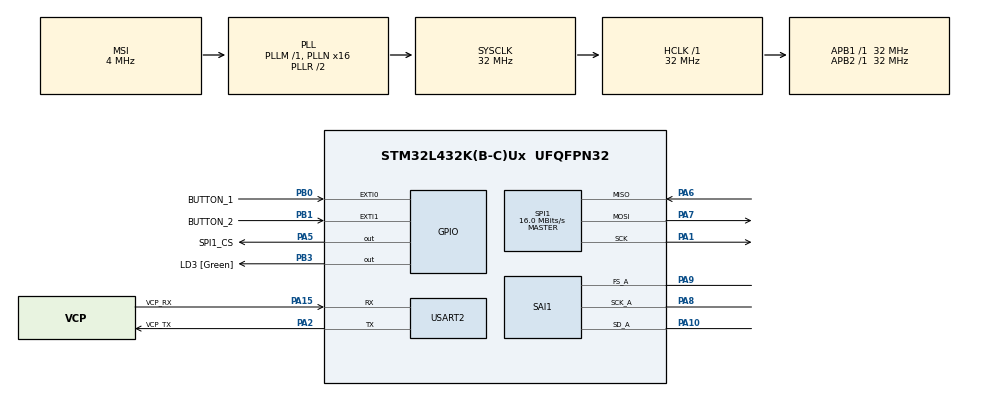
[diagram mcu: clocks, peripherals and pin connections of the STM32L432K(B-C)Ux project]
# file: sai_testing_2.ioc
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Dma.Request0=SAI1_A
Dma.SAI1_A.0.Direction=DMA_MEMORY_TO_PERIPH
Dma.SAI1_A.0.Instance=DMA2_Channel1
Dma.SAI1_A.0.MemDataAlignment=DMA_MDATAALIGN_HALFWORD
Dma.SAI1_A.0.MemInc=DMA_MINC_ENABLE
Dma.SAI1_A.0.Mode=DMA_CIRCULAR
Dma.SAI1_A.0.PeriphDataAlignment=DMA_PDATAALIGN_HALFWORD
Dma.SAI1_A.0.PeriphInc=DMA_PINC_DISABLE
Dma.SAI1_A.0.Priority=DMA_PRIORITY_HIGH
Mcu.Family=STM32L4
Mcu.Name=STM32L432K(B-C)Ux
Mcu.Package=UFQFPN32
NVIC.DMA2_Channel1_IRQn=true\:0\:0\:false\:false\:true\:false\:true\:true
NVIC.EXTI0_IRQn=true\:0\:0\:false\:false\:true\:true\:true\:true
NVIC.EXTI1_IRQn=true\:0\:0\:false\:false\:true\:true\:true\:true
NVIC.PriorityGroup=NVIC_PRIORITYGROUP_4
PA0.GPIO_Label=MCO [High speed clock in]
PA0.Mode=HSE-External-Clock-Source-for-LittleOrca
PA0.Signal=RCC_CK_IN
PA1.Mode=Full_Duplex_Master
PA1.Signal=SPI1_SCK
PA10.Mode=SAI_A_Master
PA10.Signal=SAI1_SD_A
PA13\ (JTMS-SWDIO).GPIO_Label=SWDIO
PA13\ (JTMS-SWDIO).Mode=Serial_Wire
PA13\ (JTMS-SWDIO).Signal=SYS_JTMS-SWDIO
PA14\ (JTCK-SWCLK).GPIO_Label=SWCLK
PA14\ (JTCK-SWCLK).Mode=Serial_Wire
PA14\ (JTCK-SWCLK).Signal=SYS_JTCK-SWCLK
PA15\ (JTDI).GPIO_Label=VCP_RX
PA15\ (JTDI).Mode=Asynchronous
PA15\ (JTDI).Signal=USART2_RX
PA2.GPIO_Label=VCP_TX
PA2.Mode=Asynchronous
PA2.Signal=USART2_TX
PA5.GPIO_Label=SPI1_CS
PA5.PinState=GPIO_PIN_SET
PA5.Signal=GPIO_Output
PA6.Mode=Full_Duplex_Master
PA6.Signal=SPI1_MISO
PA7.Mode=Full_Duplex_Master
PA7.Signal=SPI1_MOSI
PA8.Mode=SAI_A_Master
PA8.Signal=SAI1_SCK_A
PA9.Mode=SAI_A_Master
PA9.Signal=SAI1_FS_A
PB0.GPIO_Label=BUTTON_1
PB0.GPIO_ModeDefaultEXTI=GPIO_MODE_IT_RISING
PB0.GPIO_PuPd=GPIO_PULLDOWN
PB0.Signal=GPXTI0
PB1.GPIO_Label=BUTTON_2
PB1.GPIO_ModeDefaultEXTI=GPIO_MODE_IT_RISING
PB1.GPIO_PuPd=GPIO_PULLDOWN
PB1.Signal=GPXTI1
PB3\ (JTDO-TRACESWO).GPIO_Label=LD3 [Green]
PB3\ (JTDO-TRACESWO).Signal=GPIO_Output
PC14-OSC32_IN\ (PC14).Mode=LSE-External-Oscillator
PC14-OSC32_IN\ (PC14).Signal=RCC_OSC32_IN
PC15-OSC32_OUT\ (PC15).Mode=LSE-External-Oscillator
PC15-OSC32_OUT\ (PC15).Signal=RCC_OSC32_OUT
ProjectManager.HeapSize=0x200
ProjectManager.StackSize=0x400
ProjectManager.TargetToolchain=STM32CubeIDE
RCC.ADCFreq_Value=32000000
RCC.AHBFreq_Value=32000000
RCC.APB1Freq_Value=32000000
RCC.APB1TimFreq_Value=32000000
RCC.APB2Freq_Value=32000000
RCC.APB2TimFreq_Value=32000000
RCC.CortexFreq_Value=32000000
RCC.HCLKFreq_Value=32000000
RCC.HSE_VALUE=8000000
RCC.HSI16_VALUE=16000000
RCC.HSI48_VALUE=48000000
RCC.HSI_VALUE=16000000
RCC.MSI_VALUE=4000000
RCC.PLLMUL=RCC_PLLMUL_4
RCC.PLLN=16
RCC.PLLSAI1N=16
RCC.PLLSAI1P=RCC_PLLP_DIV4
RCC.SYSCLKFreq_VALUE=32000000
RCC.SYSCLKSource=RCC_SYSCLKSOURCE_PLLCLK
RCC.USBFreq_Value=32000000
RCC.VCOOutputFreq_Value=64000000
SAI1.AudioFrequency-SAI_A_Master=SAI_AUDIO_FREQUENCY_16K
SAI1.ErrorAudioFreq-SAI_A_Master=-2.34 %
SAI1.InitProtocol-SAI_A_Master=Enable
SAI1.Instance-SAI_A_Master=SAI$Index_Block_A
SAI1.MClockEnable-SAI_A_Master=SAI_MASTERCLOCK_DISABLE
SAI1.RealAudioFreq-SAI_A_Master=15.625 KHz
SAI1.VirtualMode-SAI_A_Master=VM_MASTER
SAI1.VirtualProtocol-SAI_A_BASIC=VM_BASIC_PROTOCOL
SPI1.BaudRatePrescaler=SPI_BAUDRATEPRESCALER_2
SPI1.CalculateBaudRate=16.0 MBits/s
SPI1.DataSize=SPI_DATASIZE_8BIT
SPI1.Direction=SPI_DIRECTION_2LINES
SPI1.Mode=SPI_MODE_MASTER
SPI1.VirtualType=VM_MASTER
USART2.VirtualMode-Asynchronous=VM_ASYNC
VP_SAI1_VP_$IpInstance_SAIA_SAI_BASIC.Mode=SAI_A_BASIC
board=NUCLEO-L432KC

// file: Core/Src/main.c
/* USER CODE BEGIN Header */
/**
  ******************************************************************************
  * @file           : main.c
  * @brief          : Main program body
  ******************************************************************************
  * @attention
  *
  * Copyright (c) 2025 STMicroelectronics.
  * All rights reserved.
  *
  * This software is licensed under terms that can be found in the LICENSE file
  * in the root directory of this software component.
  * If no LICENSE file comes with this software, it is provided AS-IS.
  *
  ******************************************************************************
  */
/* USER CODE END Header */
#include "main.h"

/* USER CODE BEGIN Includes */
#include "audio_clip.h"
#include <stdbool.h>
#include <stdlib.h>
#include "w25qxx.h"

/* USER CODE END Includes */

/* USER CODE BEGIN PD */
#define BUFFER_SIZE 512  // must be even and divisible by 4 (2 channels x 16-bit)
#define VOLUME_MULT 0.75f
#define COFFEE_HOLE_FRACTION 10 // 10% of the time, play the coffee hole clip
/* USER CODE END PD */

SAI_HandleTypeDef hsai_BlockA1;
DMA_HandleTypeDef hdma_sai1_a;

SPI_HandleTypeDef hspi1;

UART_HandleTypeDef huart2;

/* USER CODE BEGIN PV */
uint16_t dma_buffer[BUFFER_SIZE];  // 16-bit stereo interleaved
uint8_t raw_buffer[BUFFER_SIZE * 2];  // twice as big because its data type is half dma_buffer's

volatile uint32_t audio_offset = 0;
uint32_t audio_end = 0;  //

volatile int8_t pending_track = -1;
int8_t last_track = -1;
volatile bool audio_playing = false;

W25QXX_HandleTypeDef w25qxx;
//uint8_t buf[256] = {0}; // Buffer for playing with w25qxx
/* USER CODE END PV */

void SystemClock_Config(void);
static void MX_GPIO_Init(void);
static void MX_DMA_Init(void);
static void MX_USART2_UART_Init(void);
static void MX_SAI1_Init(void);
static void MX_SPI1_Init(void);

/* USER CODE BEGIN 0 */
/*
 * Given a start and end position in the DMA buffer, fill it with data from the audio clip array.
 * Probably would be either first half, second half, or full refill.
 *
 * Each stereo 32-bit frame is 4 bytes long (2 bytes for left slot, 2 bytes for right slot)
 * if 16-bit audio data is store as bytes: 0x00 0x01 0x02 0x03
 * each (little-endian order, hence 00 01 => 0100) frame is: [left slot 16-bits: 0x0100, right slot 16-bits: 0x0302]
 */
void fill_buffer(uint32_t start, uint32_t end) {
//    audioFlashReadPtr = audio_clips[track_num].start;
//    audioPlaybackFinished = false;
//    audio_playing = true;
    // Pre-fill both halves
    uint32_t byte_len = (end - start) * 2;  // 2 bytes per sample
    w25qxx_read(&w25qxx, audio_offset, raw_buffer, byte_len);

    // going through the audio data, 2 bytes as a time (therefore 1 slot at a time, so left, then right)
    for (int i = start; i < end; ++i) {
        if (audio_offset + 1 < audio_end) {
            uint16_t sample = (raw_buffer[2*(i - start)+1] << 8 | raw_buffer[2*(i - start)]);
            dma_buffer[i] = (int16_t)sample*VOLUME_MULT; // do the multiplication as a signed int (cause that's what the data is)
            audio_offset += 2;
        } else {
            dma_buffer[i] = 0;  // silence
        }
    }
}

void HAL_SAI_TxHalfCpltCallback(SAI_HandleTypeDef *hsai) {
    if (audio_offset >= audio_end) { // Done playing.
        HAL_SAI_DMAStop(hsai);
        HAL_GPIO_WritePin(LD3_GPIO_Port, LD3_Pin, GPIO_PIN_RESET);
        audio_playing = false;
        return;
    }
    fill_buffer(0, BUFFER_SIZE/2); // Fill first half of the buffer
}

void HAL_SAI_TxCpltCallback(SAI_HandleTypeDef *hsai) {
    if (audio_offset >= audio_end) { // Done playing.
        HAL_SAI_DMAStop(hsai);
        HAL_GPIO_WritePin(LD3_GPIO_Port, LD3_Pin, GPIO_PIN_RESET);
        audio_playing = false;
        return;
    }
    fill_buffer(BUFFER_SIZE/2, BUFFER_SIZE); // Fill second half of the buffer
}

void play_track(uint8_t track_num) {
    if (audio_playing) return;
    audio_playing = true;

    audio_offset = audio_clips[track_num].start;
    audio_end = audio_offset + audio_clips[track_num].length;

    fill_buffer(0, BUFFER_SIZE); // Fill the whole buffer
    HAL_Delay(10);
    HAL_GPIO_WritePin(LD3_GPIO_Port, LD3_Pin, GPIO_PIN_SET);
    HAL_SAI_Transmit_DMA(&hsai_BlockA1, (uint8_t*)dma_buffer, BUFFER_SIZE);
}

/* USER CODE END 0 */

int main(void)
{

  /* MCU Configuration--------------------------------------------------------*/

  /* Reset of all peripherals, Initializes the Flash interface and the Systick. */
  HAL_Init();

  /* Configure the system clock */
  SystemClock_Config();

  /* Initialize all configured peripherals */
  MX_GPIO_Init();
  MX_DMA_Init();
  MX_USART2_UART_Init();
  MX_SAI1_Init();
  MX_SPI1_Init();
  /* USER CODE BEGIN 2 */

  if (w25qxx_init(&w25qxx, &hspi1, SPI1_CS_GPIO_Port, SPI1_CS_Pin) == W25QXX_Ok)
  {
  }

  play_track(16);
  /* USER CODE END 2 */

  /* Infinite loop */
  while (1)
  {

    /* USER CODE BEGIN 3 */
    if (pending_track >= 0 && !audio_playing) {
      uint8_t t = pending_track;
      pending_track = -1;
      play_track(t);                // start outside ISR
    }
    __WFI();                          // sleep until next event
  }
  /* USER CODE END 3 */
}

void SystemClock_Config(void)
{
  RCC_OscInitTypeDef RCC_OscInitStruct = {0};
  RCC_ClkInitTypeDef RCC_ClkInitStruct = {0};

  /** Configure the main internal regulator output voltage
  */
  if (HAL_PWREx_ControlVoltageScaling(PWR_REGULATOR_VOLTAGE_SCALE1) != HAL_OK)
  {
    Error_Handler();
  }

  /** Configure LSE Drive Capability
  */
  HAL_PWR_EnableBkUpAccess();
  __HAL_RCC_LSEDRIVE_CONFIG(RCC_LSEDRIVE_LOW);

  /** Initializes the RCC Oscillators according to the specified parameters
  * in the RCC_OscInitTypeDef structure.
  */
  RCC_OscInitStruct.OscillatorType = RCC_OSCILLATORTYPE_LSE|RCC_OSCILLATORTYPE_MSI;
  RCC_OscInitStruct.LSEState = RCC_LSE_ON;
  RCC_OscInitStruct.MSIState = RCC_MSI_ON;
  RCC_OscInitStruct.MSICalibrationValue = 0;
  RCC_OscInitStruct.MSIClockRange = RCC_MSIRANGE_6;
  RCC_OscInitStruct.PLL.PLLState = RCC_PLL_ON;
  RCC_OscInitStruct.PLL.PLLSource = RCC_PLLSOURCE_MSI;
  RCC_OscInitStruct.PLL.PLLM = 1;
  RCC_OscInitStruct.PLL.PLLN = 16;
  RCC_OscInitStruct.PLL.PLLP = RCC_PLLP_DIV7;
  RCC_OscInitStruct.PLL.PLLQ = RCC_PLLQ_DIV2;
  RCC_OscInitStruct.PLL.PLLR = RCC_PLLR_DIV2;
  if (HAL_RCC_OscConfig(&RCC_OscInitStruct) != HAL_OK)
  {
    Error_Handler();
  }

  /** Initializes the CPU, AHB and APB buses clocks
  */
  RCC_ClkInitStruct.ClockType = RCC_CLOCKTYPE_HCLK|RCC_CLOCKTYPE_SYSCLK
                              |RCC_CLOCKTYPE_PCLK1|RCC_CLOCKTYPE_PCLK2;
  RCC_ClkInitStruct.SYSCLKSource = RCC_SYSCLKSOURCE_PLLCLK;
  RCC_ClkInitStruct.AHBCLKDivider = RCC_SYSCLK_DIV1;
  RCC_ClkInitStruct.APB1CLKDivider = RCC_HCLK_DIV1;
  RCC_ClkInitStruct.APB2CLKDivider = RCC_HCLK_DIV1;

  if (HAL_RCC_ClockConfig(&RCC_ClkInitStruct, FLASH_LATENCY_1) != HAL_OK)
  {
    Error_Handler();
  }

  /** Enable MSI Auto calibration
  */
  HAL_RCCEx_EnableMSIPLLMode();
}

static void MX_SAI1_Init(void)
{

  hsai_BlockA1.Instance = SAI1_Block_A;
  hsai_BlockA1.Init.AudioMode = SAI_MODEMASTER_TX;
  hsai_BlockA1.Init.Synchro = SAI_ASYNCHRONOUS;
  hsai_BlockA1.Init.OutputDrive = SAI_OUTPUTDRIVE_DISABLE;
  hsai_BlockA1.Init.NoDivider = SAI_MASTERDIVIDER_ENABLE;
  hsai_BlockA1.Init.FIFOThreshold = SAI_FIFOTHRESHOLD_EMPTY;
  hsai_BlockA1.Init.AudioFrequency = SAI_AUDIO_FREQUENCY_16K;
  hsai_BlockA1.Init.SynchroExt = SAI_SYNCEXT_DISABLE;
  hsai_BlockA1.Init.MonoStereoMode = SAI_STEREOMODE;
  hsai_BlockA1.Init.CompandingMode = SAI_NOCOMPANDING;
  hsai_BlockA1.Init.TriState = SAI_OUTPUT_NOTRELEASED;
  if (HAL_SAI_InitProtocol(&hsai_BlockA1, SAI_I2S_STANDARD, SAI_PROTOCOL_DATASIZE_16BIT, 2) != HAL_OK)
  {
    Error_Handler();
  }

}

static void MX_SPI1_Init(void)
{

  /* SPI1 parameter configuration*/
  hspi1.Instance = SPI1;
  hspi1.Init.Mode = SPI_MODE_MASTER;
  hspi1.Init.Direction = SPI_DIRECTION_2LINES;
  hspi1.Init.DataSize = SPI_DATASIZE_8BIT;
  hspi1.Init.CLKPolarity = SPI_POLARITY_LOW;
  hspi1.Init.CLKPhase = SPI_PHASE_1EDGE;
  hspi1.Init.NSS = SPI_NSS_SOFT;
  hspi1.Init.BaudRatePrescaler = SPI_BAUDRATEPRESCALER_2;
  hspi1.Init.FirstBit = SPI_FIRSTBIT_MSB;
  hspi1.Init.TIMode = SPI_TIMODE_DISABLE;
  hspi1.Init.CRCCalculation = SPI_CRCCALCULATION_DISABLE;
  hspi1.Init.CRCPolynomial = 7;
  hspi1.Init.CRCLength = SPI_CRC_LENGTH_DATASIZE;
  hspi1.Init.NSSPMode = SPI_NSS_PULSE_ENABLE;
  if (HAL_SPI_Init(&hspi1) != HAL_OK)
  {
    Error_Handler();
  }

}

static void MX_USART2_UART_Init(void)
{

  huart2.Instance = USART2;
  huart2.Init.BaudRate = 115200;
  huart2.Init.WordLength = UART_WORDLENGTH_8B;
  huart2.Init.StopBits = UART_STOPBITS_1;
  huart2.Init.Parity = UART_PARITY_NONE;
  huart2.Init.Mode = UART_MODE_TX_RX;
  huart2.Init.HwFlowCtl = UART_HWCONTROL_NONE;
  huart2.Init.OverSampling = UART_OVERSAMPLING_16;
  huart2.Init.OneBitSampling = UART_ONE_BIT_SAMPLE_DISABLE;
  huart2.AdvancedInit.AdvFeatureInit = UART_ADVFEATURE_NO_INIT;
  if (HAL_UART_Init(&huart2) != HAL_OK)
  {
    Error_Handler();
  }

}

static void MX_DMA_Init(void)
{

  /* DMA controller clock enable */
  __HAL_RCC_DMA2_CLK_ENABLE();

  /* DMA interrupt init */
  /* DMA2_Channel1_IRQn interrupt configuration */
  HAL_NVIC_SetPriority(DMA2_Channel1_IRQn, 0, 0);
  HAL_NVIC_EnableIRQ(DMA2_Channel1_IRQn);

}

static void MX_GPIO_Init(void)
{
  GPIO_InitTypeDef GPIO_InitStruct = {0};

  /* GPIO Ports Clock Enable */
  __HAL_RCC_GPIOC_CLK_ENABLE();
  __HAL_RCC_GPIOA_CLK_ENABLE();
  __HAL_RCC_GPIOB_CLK_ENABLE();

  /*Configure GPIO pin Output Level */
  HAL_GPIO_WritePin(SPI1_CS_GPIO_Port, SPI1_CS_Pin, GPIO_PIN_SET);

  /*Configure GPIO pin Output Level */
  HAL_GPIO_WritePin(LD3_GPIO_Port, LD3_Pin, GPIO_PIN_RESET);

  /*Configure GPIO pin : SPI1_CS_Pin */
  GPIO_InitStruct.Pin = SPI1_CS_Pin;
  GPIO_InitStruct.Mode = GPIO_MODE_OUTPUT_PP;
  GPIO_InitStruct.Pull = GPIO_NOPULL;
  GPIO_InitStruct.Speed = GPIO_SPEED_FREQ_LOW;
  HAL_GPIO_Init(SPI1_CS_GPIO_Port, &GPIO_InitStruct);

  /*Configure GPIO pins : BUTTON_1_Pin BUTTON_2_Pin */
  GPIO_InitStruct.Pin = BUTTON_1_Pin|BUTTON_2_Pin;
  GPIO_InitStruct.Mode = GPIO_MODE_IT_RISING;
  GPIO_InitStruct.Pull = GPIO_PULLDOWN;
  HAL_GPIO_Init(GPIOB, &GPIO_InitStruct);

  /*Configure GPIO pin : LD3_Pin */
  GPIO_InitStruct.Pin = LD3_Pin;
  GPIO_InitStruct.Mode = GPIO_MODE_OUTPUT_PP;
  GPIO_InitStruct.Pull = GPIO_NOPULL;
  GPIO_InitStruct.Speed = GPIO_SPEED_FREQ_LOW;
  HAL_GPIO_Init(LD3_GPIO_Port, &GPIO_InitStruct);

  /* EXTI interrupt init*/
  HAL_NVIC_SetPriority(EXTI0_IRQn, 0, 0);
  HAL_NVIC_EnableIRQ(EXTI0_IRQn);

  HAL_NVIC_SetPriority(EXTI1_IRQn, 0, 0);
  HAL_NVIC_EnableIRQ(EXTI1_IRQn);

}

/* USER CODE BEGIN 4 */

void HAL_GPIO_EXTI_Callback(uint16_t GPIO_Pin)
{
    if(audio_playing) return; // don't do this if a track is playing

    if((GPIO_Pin == BUTTON_1_Pin) || (GPIO_Pin == BUTTON_2_Pin)) {
        int8_t potential_track;
        // find a new track but don't repeat the last track
        do {
            if(rand() % 100 <= COFFEE_HOLE_FRACTION) {
                potential_track = 17;
            } else {
                potential_track = rand() % 16;  // play tracks 0-15
            }
        } while(potential_track == last_track);
        pending_track = potential_track;
        last_track = potential_track;

    } else {
        __NOP();
    }
}
/* USER CODE END 4 */

void Error_Handler(void)
{
  __disable_irq();
  while (1)
  {
  }
}
